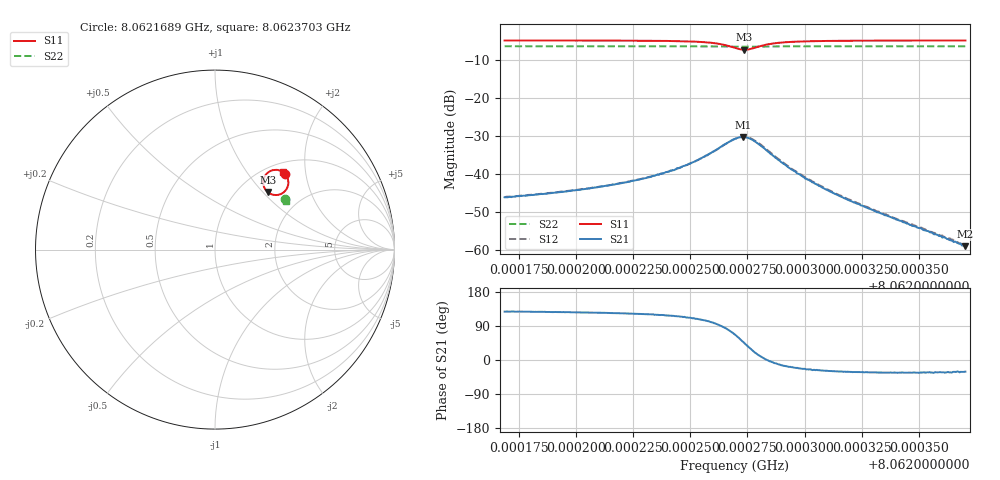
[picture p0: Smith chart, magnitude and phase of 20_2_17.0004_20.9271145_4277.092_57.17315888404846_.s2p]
#  HZ  S  RI  R  50.00
! Rohde & Schwarz Vector Network Analyzer
! Rohde-Schwarz,ZNB20-2Port,1311601062101988,3.16
! Created: UTC 3/20/2024, 10:52:57 PM
! freq[Hz]  re:S11  im:S11  re:S21  im:S21  re:S12  im:S12  re:S22  im:S22
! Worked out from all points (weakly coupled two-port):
!   401 points, 8.0621689 GHz to 8.0623703 GHz, reference 50 ohm
!   highest |S21| = -30.27 dB at 8.0622731 GHz (marker M1); lowest = -59.1 dB at 8.0623703 GHz (marker M2)
!   lowest |S11| = -7.2 dB at 8.0622736 GHz (marker M3), VSWR 2.54, Z = 67.4 + j53.2 ohm
!   |S11| at or under -10 dB: nowhere
!   |S22| runs from -6.4 to -6.3 dB; largest |S21 - S12| = 0.0012
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8.06216889e9  0.389 0.4236  -0.00301 0.00389  -0.00281 0.00409  0.3918 0.2812
8.06219055e9  0.3925 0.4198  -0.00337 0.00453  -0.00313 0.00475  0.3926 0.28
8.06220263e9  0.3947 0.4168  -0.00362 0.00509  -0.00335 0.00537  0.3931 0.2794
8.06222278e9  0.3997 0.4092  -0.00424 0.0066  -0.00389 0.00689  0.3939 0.2781
8.06223637e9  0.4041 0.3997  -0.00469 0.00853  -0.0043 0.00891  0.3942 0.277
8.06224292e9  0.4066 0.3923  -0.00496 0.01  -0.00445 0.0105  0.3944 0.2763
8.06225249e9  0.4089 0.3742  -0.00472 0.0141  -0.00405 0.0143  0.3945 0.2752
8.06226306e9  0.395 0.3322  -0.000481 0.0224  0.000596 0.0223  0.3938 0.273
8.06226659e9  0.3743 0.3137  0.00453 0.0256  0.00547 0.0253  0.3928 0.2725
8.06226961e9  0.3433 0.304  0.0115 0.0267  0.0121 0.0263  0.3915 0.2722
8.06227314e9  0.2989 0.3162  0.0206 0.0227  0.0212 0.0224  0.3899 0.2732
8.06227364e9  0.2935 0.3205  0.0215 0.0217  0.0223 0.0213  0.3897 0.2734
8.06227616e9  0.2731 0.349  0.0251 0.0149  0.026 0.0146  0.3893 0.2747
8.06227817e9  0.2684 0.3737  0.0254 0.00942  0.0261 0.0089  0.3894 0.2757
8.0622817e9  0.2773 0.4083  0.0224 0.00235  0.0231 0.00161  0.3903 0.2771
8.06228522e9  0.2935 0.4281  0.0183 -0.00117  0.0188 -0.00223  0.3915 0.2774
8.06229429e9  0.3272 0.4435  0.0108 -0.00369  0.0109 -0.00438  0.3934 0.2773
8.06230335e9  0.3456 0.444  0.00691 -0.0035  0.00698 -0.00379  0.3945 0.2764
8.0623099e9  0.3537 0.4429  0.00539 -0.00292  0.00532 -0.00333  0.3951 0.2761
8.06231846e9  0.361 0.4409  0.00397 -0.0024  0.00392 -0.00266  0.3956 0.2756
8.06233709e9  0.3704 0.437  0.00229 -0.0015  0.00226 -0.00162  0.3965 0.2744
8.06237033e9  0.3789 0.432  0.000959 -0.000568  0.000956 -0.000628  0.3977 0.2724
